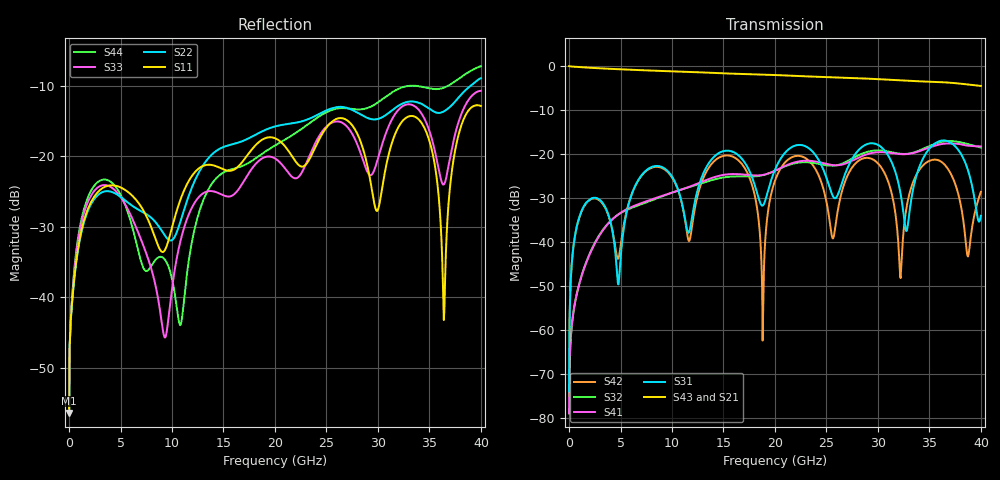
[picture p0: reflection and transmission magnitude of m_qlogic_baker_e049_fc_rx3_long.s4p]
! freq	real(S11)	imag(S11)	real(S12)	imag(S12)	real(S13)	imag(S13)
!  real(S14)	imag(S14)
!  real(S21)	imag(S21)	real(S22)	imag(S22)	real(S23)	imag(S23)
!  real(S24)	imag(S24)
!  real(S31)	imag(S31)	real(S32)	imag(S32)	real(S33)	imag(S33)
!  real(S34)	imag(S34)
!  real(S41)	imag(S41)	real(S42)	imag(S42)	real(S43)	imag(S43)
!  real(S44)	imag(S44)
!port1: p1  port2: p2  port3: p3  port4: p4
#  MHz  S  RI  R 50
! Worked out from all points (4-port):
!   8000 points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, 5 MHz to 40 GHz, reference 50 ohm
!   strongest paths, dB at 5 MHz, 10.01 GHz, 20 GHz, 30 GHz, 40 GHz:
!     S43: 0.0, -1.2, -2.0, -3.0, -4.5
!     S21: 0.0, -1.2, -2.1, -2.8, -4.4
!     S31: -74.1, -25.2, -23.6, -17.9, -34.1
!     S41: -79.0, -28.8, -23.8, -19.6, -18.3
!     S32: -79.0, -28.8, -23.8, -19.2, -18.6
!     S42: -74.1, -25.4, -26.1, -22.1, -28.6
!   lowest |S11| = -56.4 dB at 5 MHz (marker M1), VSWR 1.00, Z = 50.2 + j0.00624 ohm
!   |S11| at or under -10 dB: start of sweep to end of sweep
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5  0.00151 6.22e-05  0.9984 -0.0029  0.000196 2.68e-05  -0.000111 -1.04e-05
   0.9984 -0.0029  0.00152 6.15e-05  -0.000111 -1.04e-05  0.000196 2.67e-05
   0.000196 2.68e-05  -0.000111 -1.04e-05  0.0015 5.22e-05  0.9984 -0.00291
   -0.000111 -1.04e-05  0.000196 2.67e-05  0.9984 -0.00291  0.00151 5.13e-05
1205  0.00197 -0.0299  0.7968 -0.5567  0.0134 0.0179  -0.00241 -0.00325
      0.7968 -0.5567  -0.00291 -0.0289  -0.00241 -0.0033  0.0133 0.0176
      0.0134 0.0179  -0.00241 -0.0033  -0.00322 -0.0337  0.7948 -0.5588
      -0.00241 -0.00325  0.0133 0.0176  0.7948 -0.5588  -0.0052 -0.0355
6285  -0.0455 0.0238  -0.905 -0.0468  0.000776 0.0398  0.000849 0.0256
      -0.905 -0.0468  0.0246 0.0364  0.00148 0.0249  0.00672 0.0393
      0.000776 0.0398  0.00148 0.0249  -0.0284 0.0192  -0.9055 -0.0356
      0.000849 0.0256  0.00672 0.0393  -0.9055 -0.0356  0.00503 0.0284
12580  -0.0648 -0.0502  0.8403 0.126  0.00475 0.0423  0.00615 -0.0462
       0.8403 0.126  0.0721 -0.0254  0.00407 -0.0451  0.00816 0.0361
       0.00475 0.0423  0.00407 -0.0451  -0.0465 -0.0215  0.8443 0.1065
       0.00615 -0.0462  0.00816 0.0361  0.8443 0.1065  0.0391 -0.00122
19225  -0.00887 -0.1357  -0.7912 -0.0759  0.0228 0.0259  -0.00323 0.0592
       -0.7912 -0.0759  0.0354 -0.1521  -0.00468 0.059  -0.000434 0.0179
       0.0228 0.0259  -0.00468 0.059  -0.0286 -0.0955  -0.7984 -0.0441
       -0.00323 0.0592  -0.000434 0.0179  -0.7984 -0.0441  0.0452 -0.1006
36415  -0.0019 -0.00693  0.2532 0.6192  0.1211 -0.0753  0.1189 -0.0546
       0.2532 0.6192  -0.104 -0.1814  0.124 -0.063  0.0768 -0.000626
       0.1211 -0.0753  0.124 -0.063  0.0217 0.0596  0.2787 0.5921
       0.1189 -0.0546  0.0768 -0.000626  0.2787 0.5921  -0.1699 -0.2568
40000  -0.1269 -0.1896  0.5079 -0.3279  -0.00554 0.019  -0.0761 -0.0954
       0.5079 -0.3279  -0.2163 -0.2867  -0.0842 -0.0828  -0.0158 0.0336
       -0.00554 0.019  -0.0842 -0.0828  -0.1238 -0.2649  0.4808 -0.3503
       -0.0761 -0.0954  -0.0158 0.0336  0.4808 -0.3503  -0.3209 -0.2969
